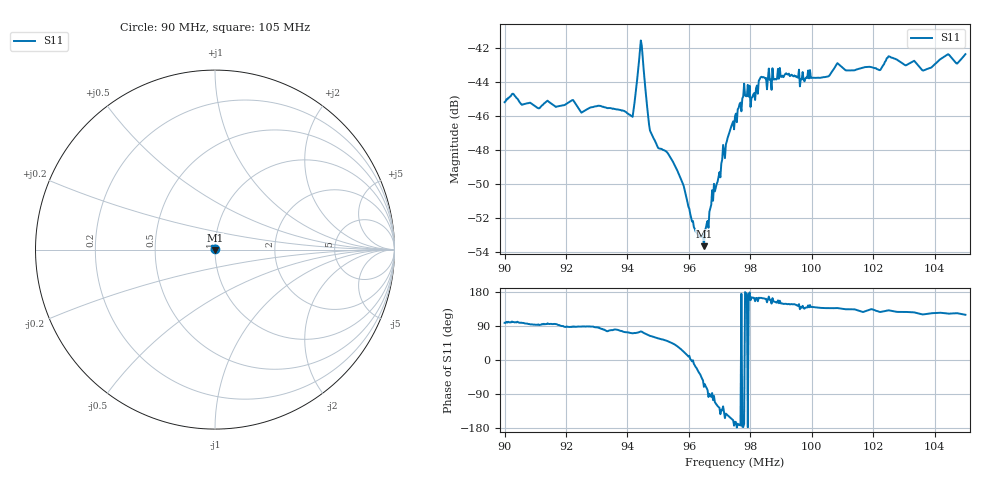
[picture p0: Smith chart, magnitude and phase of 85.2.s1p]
# HZ S RI R 50
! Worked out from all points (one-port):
!   505 points, 90 MHz to 105 MHz, reference 50 ohm
!   lowest |S11| = -53.7 dB at 96.49 MHz (marker M1), VSWR 1.00, Z = 50.1 - j0.196 ohm
!   |S11| at or under -10 dB: start of sweep to end of sweep
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9e7  -0.000782 0.00546
9.026786e7  -0.00103 0.00575
9.107143e7  -0.000261 0.0053
9.187501e7  5.05e-05 0.0054
9.375001e7  0.00112 0.00511
9.416668e7  0.00166 0.00471
9.443454e7  0.00212 0.00812
9.449406e7  0.00218 0.00716
9.467263e7  0.00207 0.00456
9.476192e7  0.00204 0.004
9.562502e7  0.0028 0.00204
9.622026e7  0.00217 -0.000728
9.648812e7  0.000679 -0.00196
9.717264e7  -0.00337 -0.00169
9.750002e7  -0.00479 -0.00147
9.779764e7  -0.00613 -0.00127
9.80655e7  -0.0055 0.00153
9.836312e7  -0.0063 0.00182
9.937503e7  -0.00554 0.00359
1.004762e8  -0.00479 0.00448
1.008631e8  -0.0052 0.0049
1.0125e8  -0.00474 0.00494
1.022024e8  -0.00414 0.00547
1.025298e8  -0.0049 0.0057
1.03125e8  -0.00425 0.00572
1.036608e8  -0.0035 0.0059
1.044048e8  -0.0041 0.00641
1.05e8  -0.00375 0.00666
